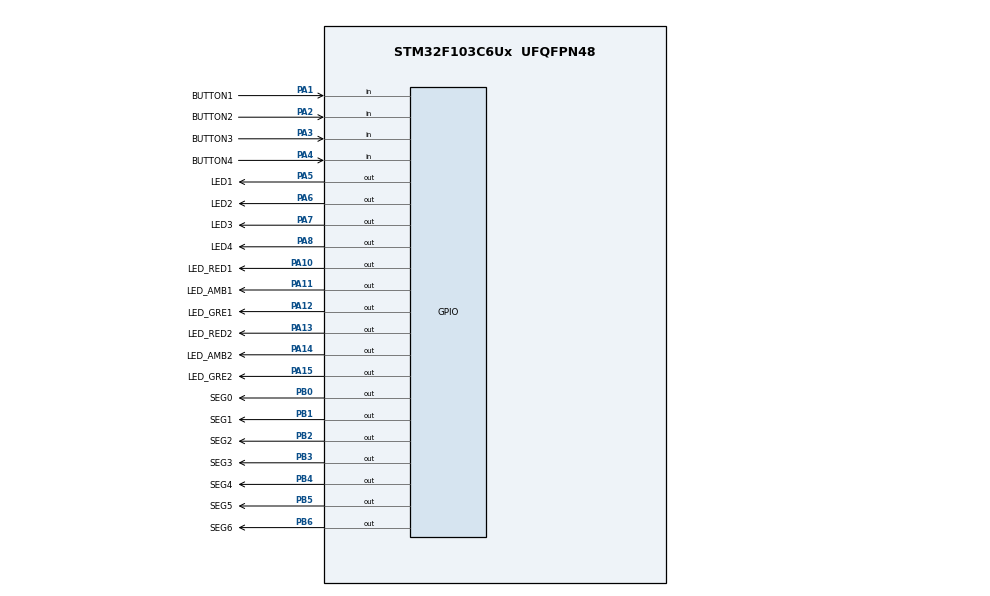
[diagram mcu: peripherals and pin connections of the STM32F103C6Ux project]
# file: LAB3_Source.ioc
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Mcu.Family=STM32F1
Mcu.Name=STM32F103C6Ux
Mcu.Package=UFQFPN48
NVIC.PriorityGroup=NVIC_PRIORITYGROUP_4
NVIC.TIM2_IRQn=true\:0\:0\:false\:false\:true\:true\:true
PA1.GPIO_Label=BUTTON1
PA1.GPIO_PuPd=GPIO_PULLUP
PA1.Signal=GPIO_Input
PA10.GPIO_Label=LED_RED1
PA10.Signal=GPIO_Output
PA11.GPIO_Label=LED_AMB1
PA11.Signal=GPIO_Output
PA12.GPIO_Label=LED_GRE1
PA12.Signal=GPIO_Output
PA13.GPIO_Label=LED_RED2
PA13.Signal=GPIO_Output
PA14.GPIO_Label=LED_AMB2
PA14.Signal=GPIO_Output
PA15.GPIO_Label=LED_GRE2
PA15.Signal=GPIO_Output
PA2.GPIO_Label=BUTTON2
PA2.GPIO_PuPd=GPIO_PULLUP
PA2.Signal=GPIO_Input
PA3.GPIO_Label=BUTTON3
PA3.GPIO_PuPd=GPIO_PULLUP
PA3.Signal=GPIO_Input
PA4.GPIO_Label=BUTTON4
PA4.GPIO_PuPd=GPIO_PULLUP
PA4.Signal=GPIO_Input
PA5.GPIO_Label=LED1
PA5.Signal=GPIO_Output
PA6.GPIO_Label=LED2
PA6.Signal=GPIO_Output
PA7.GPIO_Label=LED3
PA7.Signal=GPIO_Output
PA8.GPIO_Label=LED4
PA8.Signal=GPIO_Output
PB0.GPIO_Label=SEG0
PB0.Signal=GPIO_Output
PB1.GPIO_Label=SEG1
PB1.Signal=GPIO_Output
PB2.GPIO_Label=SEG2
PB2.Signal=GPIO_Output
PB3.GPIO_Label=SEG3
PB3.Signal=GPIO_Output
PB4.GPIO_Label=SEG4
PB4.Signal=GPIO_Output
PB5.GPIO_Label=SEG5
PB5.Signal=GPIO_Output
PB6.GPIO_Label=SEG6
PB6.Signal=GPIO_Output
ProjectManager.HeapSize=0x200
ProjectManager.StackSize=0x400
ProjectManager.TargetToolchain=STM32CubeIDE
RCC.APB1Freq_Value=8000000
RCC.APB2Freq_Value=8000000
TIM2.Period=9
TIM2.Prescaler=7999
VP_SYS_VS_ND.Mode=No_Debug
VP_TIM2_VS_ClockSourceINT.Mode=Internal
board=custom

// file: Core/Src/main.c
/* USER CODE BEGIN Header */
/**
  ******************************************************************************
  * @file           : main.c
  * @brief          : Main program body
  ******************************************************************************
  * @attention
  *
  * <h2><center>&copy; Copyright (c) 2025 STMicroelectronics.
  * All rights reserved.</center></h2>
  *
  * This software component is licensed by ST under BSD 3-Clause license,
  * the "License"; You may not use this file except in compliance with the
  * License. You may obtain a copy of the License at:
  *                        opensource.org/licenses/BSD-3-Clause
  *
  ******************************************************************************
  */
/* USER CODE END Header */
#include "main.h"

/* USER CODE BEGIN Includes */
#include "software_timer.h"
#include "fsm_auto.h"
#include "fsm_manual.h"
#include "fsm_config.h"
#include "global.h"
#include "button.h"
#include "7seg.h"
#include "scheduler.h"
/* USER CODE END Includes */

TIM_HandleTypeDef htim2;

void SystemClock_Config(void);
static void MX_GPIO_Init(void);
static void MX_TIM2_Init(void);

int main(void)
{

  /* MCU Configuration--------------------------------------------------------*/

  /* Reset of all peripherals, Initializes the Flash interface and the Systick. */
  HAL_Init();

  /* Configure the system clock */
  SystemClock_Config();

  /* Initialize all configured peripherals */
  MX_GPIO_Init();
  MX_TIM2_Init();
  /* USER CODE BEGIN 2 */
  HAL_TIM_Base_Start_IT(&htim2);
  /* USER CODE END 2 */

  /* Infinite loop */
  /* USER CODE BEGIN WHILE */
  SCH_AddTask(timerRun, 0, 1);
  SCH_AddTask(getKeyInput, 0, 1);
  SCH_AddTask(fsm_auto, 0, 10);
  SCH_AddTask(fsm_config, 0, 10);
  SCH_AddTask(fsm_manual, 0, 10);
  while (1)
  {
    /* USER CODE END WHILE */

    /* USER CODE BEGIN 3 */
	SCH_Dispatch_Tasks();
  }
  /* USER CODE END 3 */
}

void SystemClock_Config(void)
{
  RCC_OscInitTypeDef RCC_OscInitStruct = {0};
  RCC_ClkInitTypeDef RCC_ClkInitStruct = {0};

  /** Initializes the RCC Oscillators according to the specified parameters
  * in the RCC_OscInitTypeDef structure.
  */
  RCC_OscInitStruct.OscillatorType = RCC_OSCILLATORTYPE_HSI;
  RCC_OscInitStruct.HSIState = RCC_HSI_ON;
  RCC_OscInitStruct.HSICalibrationValue = RCC_HSICALIBRATION_DEFAULT;
  RCC_OscInitStruct.PLL.PLLState = RCC_PLL_NONE;
  if (HAL_RCC_OscConfig(&RCC_OscInitStruct) != HAL_OK)
  {
    Error_Handler();
  }
  /** Initializes the CPU, AHB and APB buses clocks
  */
  RCC_ClkInitStruct.ClockType = RCC_CLOCKTYPE_HCLK|RCC_CLOCKTYPE_SYSCLK
                              |RCC_CLOCKTYPE_PCLK1|RCC_CLOCKTYPE_PCLK2;
  RCC_ClkInitStruct.SYSCLKSource = RCC_SYSCLKSOURCE_HSI;
  RCC_ClkInitStruct.AHBCLKDivider = RCC_SYSCLK_DIV1;
  RCC_ClkInitStruct.APB1CLKDivider = RCC_HCLK_DIV1;
  RCC_ClkInitStruct.APB2CLKDivider = RCC_HCLK_DIV1;

  if (HAL_RCC_ClockConfig(&RCC_ClkInitStruct, FLASH_LATENCY_0) != HAL_OK)
  {
    Error_Handler();
  }
}

static void MX_TIM2_Init(void)
{

  TIM_ClockConfigTypeDef sClockSourceConfig = {0};
  TIM_MasterConfigTypeDef sMasterConfig = {0};

  htim2.Instance = TIM2;
  htim2.Init.Prescaler = 7999;
  htim2.Init.CounterMode = TIM_COUNTERMODE_UP;
  htim2.Init.Period = 9;
  htim2.Init.ClockDivision = TIM_CLOCKDIVISION_DIV1;
  htim2.Init.AutoReloadPreload = TIM_AUTORELOAD_PRELOAD_DISABLE;
  if (HAL_TIM_Base_Init(&htim2) != HAL_OK)
  {
    Error_Handler();
  }
  sClockSourceConfig.ClockSource = TIM_CLOCKSOURCE_INTERNAL;
  if (HAL_TIM_ConfigClockSource(&htim2, &sClockSourceConfig) != HAL_OK)
  {
    Error_Handler();
  }
  sMasterConfig.MasterOutputTrigger = TIM_TRGO_RESET;
  sMasterConfig.MasterSlaveMode = TIM_MASTERSLAVEMODE_DISABLE;
  if (HAL_TIMEx_MasterConfigSynchronization(&htim2, &sMasterConfig) != HAL_OK)
  {
    Error_Handler();
  }

}

static void MX_GPIO_Init(void)
{
  GPIO_InitTypeDef GPIO_InitStruct = {0};

  /* GPIO Ports Clock Enable */
  __HAL_RCC_GPIOA_CLK_ENABLE();
  __HAL_RCC_GPIOB_CLK_ENABLE();

  /*Configure GPIO pin Output Level */
  HAL_GPIO_WritePin(GPIOA, LED1_Pin|LED2_Pin|LED3_Pin|LED4_Pin
                          |LED_RED1_Pin|LED_AMB1_Pin|LED_GRE1_Pin|LED_RED2_Pin
                          |LED_AMB2_Pin|LED_GRE2_Pin, GPIO_PIN_RESET);

  /*Configure GPIO pin Output Level */
  HAL_GPIO_WritePin(GPIOB, SEG0_Pin|SEG1_Pin|SEG2_Pin|SEG3_Pin
                          |SEG4_Pin|SEG5_Pin|SEG6_Pin, GPIO_PIN_RESET);

  /*Configure GPIO pins : BUTTON1_Pin BUTTON2_Pin BUTTON3_Pin BUTTON4_Pin */
  GPIO_InitStruct.Pin = BUTTON1_Pin|BUTTON2_Pin|BUTTON3_Pin|BUTTON4_Pin;
  GPIO_InitStruct.Mode = GPIO_MODE_INPUT;
  GPIO_InitStruct.Pull = GPIO_PULLUP;
  HAL_GPIO_Init(GPIOA, &GPIO_InitStruct);

  /*Configure GPIO pins : LED1_Pin LED2_Pin LED3_Pin LED4_Pin
                           LED_RED1_Pin LED_AMB1_Pin LED_GRE1_Pin LED_RED2_Pin
                           LED_AMB2_Pin LED_GRE2_Pin */
  GPIO_InitStruct.Pin = LED1_Pin|LED2_Pin|LED3_Pin|LED4_Pin
                          |LED_RED1_Pin|LED_AMB1_Pin|LED_GRE1_Pin|LED_RED2_Pin
                          |LED_AMB2_Pin|LED_GRE2_Pin;
  GPIO_InitStruct.Mode = GPIO_MODE_OUTPUT_PP;
  GPIO_InitStruct.Pull = GPIO_NOPULL;
  GPIO_InitStruct.Speed = GPIO_SPEED_FREQ_LOW;
  HAL_GPIO_Init(GPIOA, &GPIO_InitStruct);

  /*Configure GPIO pins : SEG0_Pin SEG1_Pin SEG2_Pin SEG3_Pin
                           SEG4_Pin SEG5_Pin SEG6_Pin */
  GPIO_InitStruct.Pin = SEG0_Pin|SEG1_Pin|SEG2_Pin|SEG3_Pin
                          |SEG4_Pin|SEG5_Pin|SEG6_Pin;
  GPIO_InitStruct.Mode = GPIO_MODE_OUTPUT_PP;
  GPIO_InitStruct.Pull = GPIO_NOPULL;
  GPIO_InitStruct.Speed = GPIO_SPEED_FREQ_LOW;
  HAL_GPIO_Init(GPIOB, &GPIO_InitStruct);

}

/* USER CODE BEGIN 4 */
void HAL_TIM_PeriodElapsedCallback(TIM_HandleTypeDef *htim)
{
	SCH_Update();
}
/* USER CODE END 4 */

void Error_Handler(void)
{
  __disable_irq();
  while (1)
  {
  }
}

/************************ (C) COPYRIGHT STMicroelectronics *****END OF FILE****/
